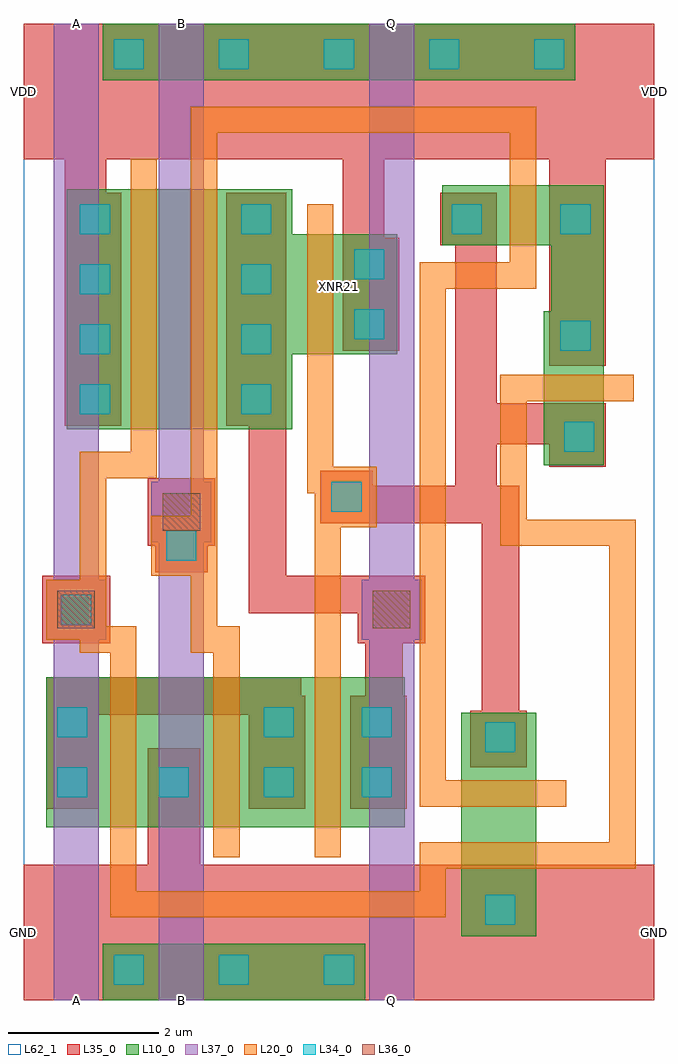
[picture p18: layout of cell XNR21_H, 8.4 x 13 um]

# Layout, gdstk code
import gdstk
lib = gdstk.Library(unit=1e-6, precision=1e-09)
def R(c, l, rs):  # rectangles x0, y0, x1, y1
    for r in rs: c.add(gdstk.rectangle(r[:2], r[2:], *l))
def A(c, l, x, y, w, h, nx, ny, dx, dy):  # array of equal rectangles
    R(c, l, [(x+i*dx, y+j*dy, x+i*dx+w, y+j*dy+h) for i in range(nx) for j in range(ny)])
def P(c, l, *ps):  # polygons
    for p in ps: c.add(gdstk.Polygon(p, *l))
L10_0 = (10, 0)
L20_0 = (20, 0)
L34_0 = (34, 0)
L35_0 = (35, 0)
L36_0 = (36, 0)
L37_0 = (37, 0)
L62_1 = (62, 1)

xnr21_h = lib.new_cell('XNR21_H')
R(xnr21_h, L10_0, [(1.05,0,4.55,0.75), (5.825,0.85,6.825,3.825), (0.3,2.3,5.075,4.3), (1.05,12.25,7.35,13)])
P(xnr21_h, L10_0, [(7.725,10.85),(5.575,10.85),(5.575,10.05),(7.025,10.05),(7.025,9.175),(6.925,9.175),(6.925,7.125),(7.725,7.125)],
  [(4.975,10.2),(3.575,10.2),(3.575,10.8),(0.575,10.8),(0.575,7.6),(3.575,7.6),(3.575,8.6),(4.975,8.6)])
P(xnr21_h, L20_0, [(8.15,6.4),(6.7,6.4),(6.7,7.975),(8.125,7.975),(8.125,8.325),(6.35,8.325),(6.35,6.05),(7.8,6.05),(7.8,2.1),(5.275,2.1),(5.275,1.45),(1.5,1.45),(1.5,4.975),(1.1,4.975),(1.1,6.95),(1.775,6.95),(1.775,11.2),(1.425,11.2),(1.425,7.3),(0.75,7.3),(0.75,5.6),(0.3,5.6),(0.3,4.8),(0.75,4.8),(0.75,4.625),(1.15,4.625),(1.15,1.1),(5.625,1.1),(5.625,1.75),(8.15,1.75)],
  [(7.225,2.925),(5.625,2.925),(5.625,9.475),(6.825,9.475),(6.825,11.9),(2.225,11.9),(2.225,6.45),(1.7,6.45),(1.7,5.65),(2.225,5.65),(2.225,4.625),(2.525,4.625),(2.525,1.9),(2.875,1.9),(2.875,4.975),(2.575,4.975),(2.575,11.55),(6.475,11.55),(6.475,9.825),(5.275,9.825),(5.275,2.575),(7.225,2.575)],
  [(4.7,7.1),(4.125,7.1),(4.125,10.6),(3.775,10.6),(3.775,6.75),(3.875,6.75),(3.875,1.9),(4.225,1.9),(4.225,6.3),(4.7,6.3)])
A(xnr21_h, L34_0, 1.2, 0.2, 0.4, 0.4, 3, 1, 1.4, 0)
A(xnr21_h, L34_0, 0.75, 7.8, 0.4, 0.4, 1, 4, 0, 0.8)
A(xnr21_h, L34_0, 2.9, 7.8, 0.4, 0.4, 1, 4, 0, 0.8)
A(xnr21_h, L34_0, 1.2, 12.4, 0.4, 0.4, 5, 1, 1.4, 0)
R(xnr21_h, L34_0, [(6.15,1,6.55,1.4), (0.45,2.7,0.85,3.1), (1.8,2.7,2.2,3.1), (3.2,2.7,3.6,3.1), (4.5,2.7,4.9,3.1), (6.15,3.3,6.55,3.7), (0.45,3.5,0.85,3.9), (3.2,3.5,3.6,3.9), (4.5,3.5,4.9,3.9), (0.5,5,0.9,5.4), (1.9,5.85,2.3,6.25), (4.1,6.5,4.5,6.9), (7.2,7.3,7.6,7.7), (7.15,8.65,7.55,9.05), (4.4,8.8,4.8,9.2), (4.4,9.6,4.8,10), (5.7,10.2,6.1,10.6), (7.15,10.2,7.55,10.6)])
R(xnr21_h, L35_0, [(0.25,4.75,1.15,5.65), (0.25,4.75,1.15,5.65), (4.45,4.75,5.35,5.65), (1.65,6.05,2.55,6.95)])
P(xnr21_h, L35_0, [(3.75,4.05),(3.7,4.05),(3.7,4.3),(0.3,4.3),(0.3,2.55),(1,2.55),(1,3.8),(3,3.8),(3,2.55),(3.75,2.55)],
  [(8.4,13),(0,13),(0,11.2),(0.55,11.2),(0.55,7.65),(1.3,7.65),(1.3,10.75),(1.1,10.75),(1.1,11.2),(4.25,11.2),(4.25,8.65),(5,8.65),(5,10.15),(4.8,10.15),(4.8,11.2),(7,11.2),(7,8.45),(7.75,8.45),(7.75,11.2),(8.4,11.2)],
  [(7.75,7.95),(6.3,7.95),(6.3,10.75),(5.55,10.75),(5.55,10.05),(5.75,10.05),(5.75,6.85),(4.65,6.85),(4.65,7.05),(3.95,7.05),(3.95,6.35),(6.1,6.35),(6.1,3.85),(5.95,3.85),(5.95,3.1),(6.7,3.1),(6.7,3.85),(6.6,3.85),(6.6,6.85),(6.3,6.85),(6.3,7.4),(7,7.4),(7,7.1),(7.75,7.1)],
  [(5.35,5.65),(3.5,5.65),(3.5,10.75),(2.7,10.75),(2.7,7.65),(3,7.65),(3,5.15),(4.45,5.15),(4.45,4.75),(4.55,4.75),(4.55,4.05),(4.35,4.05),(4.35,2.55),(5.1,2.55),(5.1,4.05),(5.05,4.05),(5.05,4.75),(5.35,4.75)],
  [(2.55,6.95),(1.65,6.95),(1.65,6.05),(1.75,6.05),(1.75,5.7),(2.45,5.7),(2.45,6.05),(2.55,6.05)],
  [(8.4,1.8),(2.35,1.8),(2.35,3.35),(1.65,3.35),(1.65,1.8),(0,1.8),(0,0),(8.4,0)])
R(xnr21_h, L36_0, [(0.45,4.95,0.95,5.45), (4.65,4.95,5.15,5.45), (1.85,6.25,2.35,6.75)])
R(xnr21_h, L37_0, [(0.4,0,1,13), (1.8,0,2.4,13), (4.6,0,5.2,13), (0.3,4.8,1.1,5.6), (4.5,4.8,5.3,5.6), (1.7,6.1,2.5,6.9)])
R(xnr21_h, L62_1, [(0,0,8.4,13)])
xnr21_h.add(gdstk.Label('XNR21', (4.2,9.5), layer=61, texttype=2))
xnr21_h.add(gdstk.Label('A', (0.7,13), layer=37, texttype=0))
xnr21_h.add(gdstk.Label('B', (2.1,13), layer=37, texttype=0))
xnr21_h.add(gdstk.Label('Q', (4.9,13), layer=37, texttype=0))
xnr21_h.add(gdstk.Label('GND', (8.4,0.9), layer=35, texttype=0))
xnr21_h.add(gdstk.Label('GND', (0,0.9), layer=35, texttype=0))
xnr21_h.add(gdstk.Label('VDD', (8.4,12.1), layer=35, texttype=0))
xnr21_h.add(gdstk.Label('VDD', (0,12.1), layer=35, texttype=0))
xnr21_h.add(gdstk.Label('A', (0.7,0), layer=37, texttype=0))
xnr21_h.add(gdstk.Label('B', (2.1,0), layer=37, texttype=0))
xnr21_h.add(gdstk.Label('Q', (4.9,0), layer=37, texttype=0))

lib.write_gds('XNR21_H.gds')
